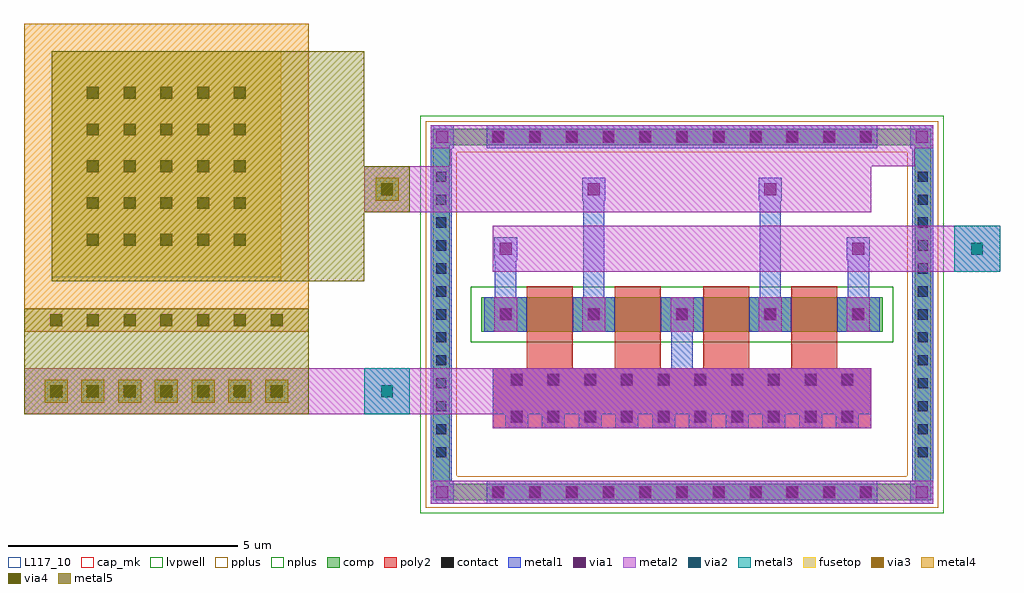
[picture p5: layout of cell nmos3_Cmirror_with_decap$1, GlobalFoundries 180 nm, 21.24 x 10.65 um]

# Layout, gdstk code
import gdstk
lib = gdstk.Library(unit=1e-6, precision=5e-09)
def R(c, l, rs):  # rectangles x0, y0, x1, y1
    for r in rs: c.add(gdstk.rectangle(r[:2], r[2:], *l))
def A(c, l, x, y, w, h, nx, ny, dx, dy):  # array of equal rectangles
    R(c, l, [(x+i*dx, y+j*dy, x+i*dx+w, y+j*dy+h) for i in range(nx) for j in range(ny)])
def P(c, l, *ps):  # polygons
    for p in ps: c.add(gdstk.Polygon(p, *l))
comp = (22, 0)
poly2 = (30, 0)
pplus = (31, 0)
nplus = (32, 0)
contact = (33, 0)
metal1 = (34, 0)
via1 = (35, 0)
metal2 = (36, 0)
via2 = (38, 0)
via3 = (40, 0)
via4 = (41, 0)
metal3 = (42, 0)
metal4 = (46, 0)
fusetop = (75, 0)
metal5 = (81, 0)
cap_mk = (117, 5)
L117_10 = (117, 10)
lvpwell = (204, 0)

cmirror_interdigitized_3 = lib.new_cell('cmirror_interdigitized$3')
A(cmirror_interdigitized_3, comp, -4.18, -4.045, 0.36, 0.36, 11, 2, 0.8, 7.73)
A(cmirror_interdigitized_3, comp, -5.42, -3.18, 0.36, 0.36, 1, 13, 0, 0.5)
A(cmirror_interdigitized_3, comp, 5.06, -3.18, 0.36, 0.36, 1, 13, 0, 0.5)
R(cmirror_interdigitized_3, comp, [(-4.18,-4.045,4.18,-3.685), (-5.42,-3.18,-5.06,3.18), (5.06,-3.18,5.42,3.18), (-4.37,-0.375,4.37,0.375), (-4.18,3.685,4.18,4.045)])
P(cmirror_interdigitized_3, comp, [(-5.42,-4.045),(-5.42,-3.685),(5.06,-3.685),(5.06,3.685),(-5.06,3.685),(-5.06,-3.685),(-5.42,-3.685),(-5.42,4.045),(5.42,4.045),(5.42,-4.045)])
A(cmirror_interdigitized_3, poly2, -3.78, -2.405, 0.36, 0.36, 10, 2, 0.8, 0.8)
A(cmirror_interdigitized_3, poly2, -3.38, -1.18, 1, 0.565, 4, 1, 1.92, 0)
A(cmirror_interdigitized_3, poly2, -3.38, -0.615, 1, 1.23, 4, 1, 1.92, 0)
R(cmirror_interdigitized_3, poly2, [(-4.12,-2.475,4.12,-1.175)])
P(cmirror_interdigitized_3, pplus, [(-5.58,-4.205),(-5.58,-3.525),(4.9,-3.525),(4.9,3.525),(-4.9,3.525),(-4.9,-3.525),(-5.58,-3.525),(-5.58,4.205),(5.58,4.205),(5.58,-4.205)])
R(cmirror_interdigitized_3, nplus, [(-4.6,-0.605,4.6,0.605)])
A(cmirror_interdigitized_3, contact, -4.11, -3.975, 0.22, 0.22, 11, 2, 0.8, 7.73)
A(cmirror_interdigitized_3, contact, -5.35, -3.11, 0.22, 0.22, 1, 13, 0, 0.5)
A(cmirror_interdigitized_3, contact, 5.13, -3.11, 0.22, 0.22, 1, 13, 0, 0.5)
A(cmirror_interdigitized_3, contact, -3.71, -2.335, 0.22, 0.22, 10, 2, 0.8, 0.8)
A(cmirror_interdigitized_3, contact, -3.95, -0.11, 0.22, 0.22, 5, 1, 1.92, 0)
A(cmirror_interdigitized_3, metal1, -4.25, -4.115, 0.5, 0.5, 11, 2, 0.8, 7.73)
A(cmirror_interdigitized_3, metal1, -5.47, -3.23, 0.46, 0.46, 1, 13, 0, 0.5)
A(cmirror_interdigitized_3, metal1, 5.01, -3.23, 0.46, 0.46, 1, 13, 0, 0.5)
A(cmirror_interdigitized_3, metal1, -3.85, -2.475, 0.5, 0.5, 10, 2, 0.8, 0.8)
A(cmirror_interdigitized_3, metal1, -4.3, -0.375, 0.92, 0.75, 5, 1, 1.92, 0)
A(cmirror_interdigitized_3, metal1, -4.07, -0.23, 0.46, 0.46, 5, 1, 1.92, 0)
R(cmirror_interdigitized_3, metal1, [(-5.47,-4.115,-4.97,-3.615), (-5.47,-4.115,-4.97,-3.615), (-5.47,-4.115,-5.01,-3.685), (-4.25,-4.115,4.25,-3.615), (4.97,-4.115,5.47,-3.615), (4.97,-4.115,5.47,-3.615), (5.01,-4.115,5.47,-3.685), (-5.47,-3.685,-5.01,3.685), (5.01,-3.685,5.47,3.685), (-4.12,-2.175,4.12,-1.175), (-0.23,-1.175,0.23,-0.375), (-4.09,-0.25,-3.59,0.25), (-4.09,-0.25,-3.59,0.25), (-2.17,-0.25,-1.67,0.25), (-2.17,-0.25,-1.67,0.25), (-0.25,-0.25,0.25,0.25), (-0.25,-0.25,0.25,0.25), (1.67,-0.25,2.17,0.25), (1.67,-0.25,2.17,0.25), (3.59,-0.25,4.09,0.25), (3.59,-0.25,4.09,0.25), (-4.07,0.375,-3.61,1.675), (-2.15,0.375,-1.69,2.975), (1.69,0.375,2.15,2.975), (3.61,0.375,4.07,1.675), (-4.09,1.175,-3.59,1.675), (3.59,1.175,4.09,1.675), (-2.17,2.475,-1.67,2.975), (1.67,2.475,2.17,2.975), (-5.47,3.615,-4.97,4.115), (-5.47,3.615,-4.97,4.115), (-4.25,3.615,4.25,4.115), (4.97,3.615,5.47,4.115), (4.97,3.615,5.47,4.115), (-5.47,3.685,-5.01,4.115), (5.01,3.685,5.47,4.115)])
A(cmirror_interdigitized_3, via1, -4.13, -3.995, 0.26, 0.26, 11, 2, 0.8, 7.73)
A(cmirror_interdigitized_3, via1, -3.73, -2.355, 0.26, 0.26, 10, 2, 0.8, 0.8)
A(cmirror_interdigitized_3, via1, -3.97, -0.13, 0.26, 0.26, 5, 1, 1.92, 0)
R(cmirror_interdigitized_3, via1, [(-5.35,-3.995,-5.09,-3.735), (5.09,-3.995,5.35,-3.735), (-3.97,1.295,-3.71,1.555), (3.71,1.295,3.97,1.555), (-2.05,2.595,-1.79,2.855), (1.79,2.595,2.05,2.855), (-5.35,3.735,-5.09,3.995), (5.09,3.735,5.35,3.995)])
A(cmirror_interdigitized_3, metal2, -4.25, -4.115, 0.5, 0.5, 11, 2, 0.8, 7.73)
A(cmirror_interdigitized_3, metal2, -3.85, -2.475, 0.5, 0.5, 10, 2, 0.8, 0.8)
A(cmirror_interdigitized_3, metal2, -4.09, -0.375, 0.5, 0.75, 5, 1, 1.92, 0)
A(cmirror_interdigitized_3, metal2, -4.09, -0.25, 0.5, 0.5, 5, 1, 1.92, 0)
R(cmirror_interdigitized_3, metal2, [(-5.47,-4.115,-4.97,-3.615), (-5.47,-4.115,-4.97,-3.615), (-5.47,-4.115,-5.06,-3.615), (-5.06,-4.115,5.06,-3.615), (4.97,-4.115,5.47,-3.615), (4.97,-4.115,5.47,-3.615), (5.06,-4.115,5.47,-3.615), (-4.12,-2.475,4.12,-1.175), (-4.12,-2.175,4.12,-1.175), (-4.12,0.925,4.12,1.925), (-4.09,1.175,-3.59,1.675), (3.59,1.175,4.09,1.675), (-4.12,2.225,4.12,3.225), (-2.17,2.475,-1.67,2.975), (1.67,2.475,2.17,2.975), (-5.06,3.225,5.06,4.115), (-5.47,3.615,-4.97,4.115), (-5.47,3.615,-4.97,4.115), (-5.47,3.615,-5.06,4.115), (-5.06,3.615,5.06,4.115), (4.97,3.615,5.47,4.115), (4.97,3.615,5.47,4.115), (5.06,3.615,5.47,4.115)])
R(cmirror_interdigitized_3, lvpwell, [(-5.7,-4.325,5.7,4.325)])

via_array_6f2c13fe_4 = lib.new_cell('via_array_6f2c13fe$4')
R(via_array_6f2c13fe_4, metal2, [(-0.5,-0.5,0.5,0.5), (-0.25,-0.25,0.25,0.25)])
R(via_array_6f2c13fe_4, via2, [(-0.13,-0.13,0.13,0.13)])
R(via_array_6f2c13fe_4, metal3, [(-0.5,-0.5,0.5,0.5), (-0.25,-0.25,0.25,0.25)])

via_array_6f2c13fe_5 = lib.new_cell('via_array_6f2c13fe$5')
R(via_array_6f2c13fe_5, metal2, [(-0.5,-0.5,0.5,0.5), (-0.25,-0.25,0.25,0.25)])
R(via_array_6f2c13fe_5, via2, [(-0.13,-0.13,0.13,0.13)])
R(via_array_6f2c13fe_5, metal3, [(-0.5,-0.5,0.5,0.5), (-0.25,-0.25,0.25,0.25)])

via_array_3a42d9f3_2 = lib.new_cell('via_array_3a42d9f3$2')
R(via_array_3a42d9f3_2, metal2, [(-0.5,-0.5,0.5,0.5), (-0.25,-0.25,0.25,0.25)])
R(via_array_3a42d9f3_2, via2, [(-0.13,-0.13,0.13,0.13)])
R(via_array_3a42d9f3_2, via3, [(-0.13,-0.13,0.13,0.13)])
R(via_array_3a42d9f3_2, via4, [(-0.13,-0.13,0.13,0.13)])
R(via_array_3a42d9f3_2, metal3, [(-0.25,-0.25,0.25,0.25)])
R(via_array_3a42d9f3_2, metal4, [(-0.25,-0.25,0.25,0.25)])
R(via_array_3a42d9f3_2, metal5, [(-0.5,-0.5,0.5,0.5), (-0.25,-0.25,0.25,0.25)])

straight_route_4b9f22a6 = lib.new_cell('straight_route_4b9f22a6')
R(straight_route_4b9f22a6, metal2, [(-6.92,-2.175,-4.12,-1.175)])

straight_route_40c7a050 = lib.new_cell('straight_route_40c7a050')
R(straight_route_40c7a050, metal2, [(-4.12,0.925,5.92,1.925)])

straight_route_8525d99d = lib.new_cell('straight_route_8525d99d')
R(straight_route_8525d99d, metal2, [(-6.92,2.225,-4.12,3.225)])

unnamed_34ca3a49 = lib.new_cell('Unnamed_34ca3a49')
A(unnamed_34ca3a49, via4, -1.73, -1.73, 0.26, 0.26, 5, 5, 0.8, 0.8)
R(unnamed_34ca3a49, metal4, [(-3.1,-3.1,3.1,3.1)])
R(unnamed_34ca3a49, fusetop, [(-2.5,-2.5,2.5,2.5)])
A(unnamed_34ca3a49, metal5, -1.85, -1.85, 0.5, 0.5, 5, 5, 0.8, 0.8)
R(unnamed_34ca3a49, metal5, [(-2.5,-2.5,2.5,2.5)])
R(unnamed_34ca3a49, cap_mk, [(-3.1,-3.1,3.1,3.1)])
R(unnamed_34ca3a49, L117_10, [(-2.5,-2.5,2.5,-2.4)])

via_array_fa9a2e7a_3 = lib.new_cell('via_array_fa9a2e7a$3')
A(via_array_fa9a2e7a_3, via4, -2.53, -0.13, 0.26, 0.26, 7, 1, 0.8, 0)
A(via_array_fa9a2e7a_3, metal4, -2.65, -0.25, 0.5, 0.5, 7, 1, 0.8, 0)
R(via_array_fa9a2e7a_3, metal4, [(-3.1,-0.25,3.1,0.25)])
A(via_array_fa9a2e7a_3, metal5, -2.65, -0.25, 0.5, 0.5, 7, 1, 0.8, 0)
R(via_array_fa9a2e7a_3, metal5, [(-3.1,-0.25,3.1,0.25)])

straight_route_7857bacc = lib.new_cell('straight_route_7857bacc')
R(straight_route_7857bacc, metal5, [(-8.72,0.725,-6.92,5.725)])

l_route_c792ab52 = lib.new_cell('L_route_c792ab52')
A(l_route_c792ab52, metal2, -13.87, -1.925, 0.5, 0.5, 7, 1, 0.8, 0)
R(l_route_c792ab52, metal2, [(-14.32,-2.175,-6.92,-1.175), (-13.87,-1.925,-8.57,-1.425)])
A(l_route_c792ab52, via2, -13.75, -1.805, 0.26, 0.26, 7, 1, 0.8, 0)
A(l_route_c792ab52, via3, -13.75, -1.805, 0.26, 0.26, 7, 1, 0.8, 0)
A(l_route_c792ab52, via4, -13.75, -1.805, 0.26, 0.26, 7, 1, 0.8, 0)
A(l_route_c792ab52, metal3, -13.87, -1.925, 0.5, 0.5, 7, 1, 0.8, 0)
A(l_route_c792ab52, metal4, -13.87, -1.925, 0.5, 0.5, 7, 1, 0.8, 0)
A(l_route_c792ab52, metal5, -13.87, -1.925, 0.5, 0.5, 7, 1, 0.8, 0)
R(l_route_c792ab52, metal5, [(-14.32,-2.175,-8.12,-1.175), (-14.32,-2.175,-8.12,0.125)])

nmos3_cmirror_with_decap = lib.new_cell('nmos3_Cmirror_with_decap$1')
nmos3_cmirror_with_decap.add(gdstk.Reference(cmirror_interdigitized_3, (0,0)))
nmos3_cmirror_with_decap.add(gdstk.Reference(via_array_6f2c13fe_4, (-6.42,-1.675)))
nmos3_cmirror_with_decap.add(gdstk.Reference(via_array_6f2c13fe_5, (6.42,1.425)))
nmos3_cmirror_with_decap.add(gdstk.Reference(via_array_3a42d9f3_2, (-6.42,2.725)))
nmos3_cmirror_with_decap.add(gdstk.Reference(straight_route_4b9f22a6, (0,0)))
nmos3_cmirror_with_decap.add(gdstk.Reference(straight_route_40c7a050, (0,0)))
nmos3_cmirror_with_decap.add(gdstk.Reference(straight_route_8525d99d, (0,0)))
nmos3_cmirror_with_decap.add(gdstk.Reference(unnamed_34ca3a49, (-11.22,3.225)))
nmos3_cmirror_with_decap.add(gdstk.Reference(via_array_fa9a2e7a_3, (-11.22,-0.125)))
nmos3_cmirror_with_decap.add(gdstk.Reference(straight_route_7857bacc, (0,0)))
nmos3_cmirror_with_decap.add(gdstk.Reference(l_route_c792ab52, (0,0)))

lib.write_gds('nmos3_Cmirror_with_decap_1.gds')
